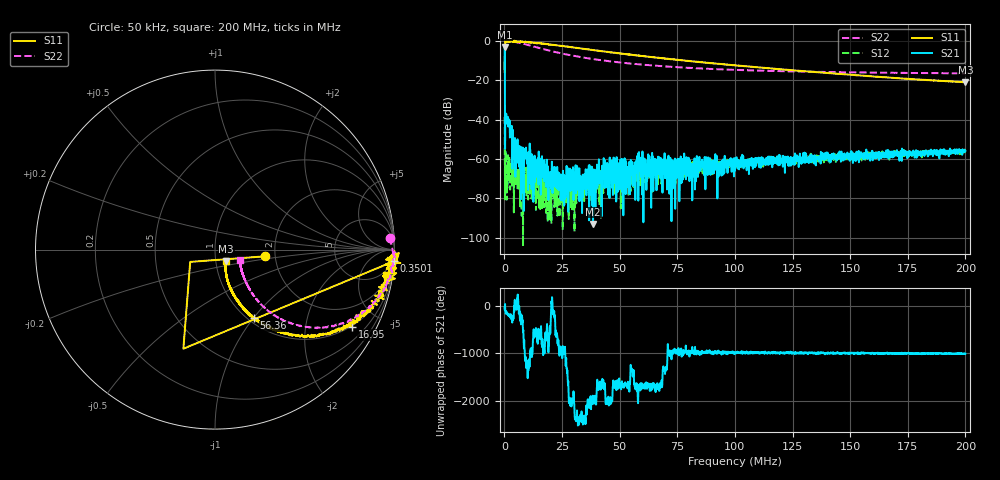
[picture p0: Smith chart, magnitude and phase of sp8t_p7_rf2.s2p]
! 26-Feb-26 1:00:21 PM
! E:\VNA_MEASUREMENTS\SP8T\SP8T_P7_RF2.S2P
! CHANNEL.1
! TR.MEASUREMENT
! CORRECTED.DATA
# GHZ S RI R 50.0
! FREQ.GHZ  S11RE  S11IM  S21RE  S21IM  S12RE  S12IM  S22RE  S22IM
!; PortSelection: Port_12
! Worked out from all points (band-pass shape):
!   2000 points, 50 kHz to 200 MHz, reference 50 ohm
!   highest |S21| = -2.99 dB at 150 kHz (marker M1); lowest = -93.0 dB at 38.46 MHz (marker M2)
!   |S21| within 3 dB of the highest: 123.3 kHz to 155.8 kHz (32.55 kHz wide, 23.3 % of centre)
!   lowest |S11| = -20.9 dB at 200 MHz (marker M3), VSWR 1.20, Z = 56.2 - j7.31 ohm
!   |S11| at or under -10 dB: start of sweep to 204.3 kHz; 78.55965 MHz to 78.64335 MHz (83.7 kHz wide, 0.106 % of centre); 78.96 MHz to end of sweep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
!   |S22| runs from -16.5 to 0.0 dB; largest |S21 - S12| = 0.71
!   S11 on the Smith chart (normalised r, x): 50 kHz: 1.77, -0.14; 350.1 kHz: -1, -31; 16.95 MHz: 0.96, -3.57; 56.36 MHz: 1.06, -1.01; 200 MHz: 1.12, -0.15
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5e-05  0.281 -0.0373  0.18 -0.0744  -0.00459 -0.0109  0.9758 0.0665
0.000150025  -0.1381 -0.0685  0.0527 -0.7067  -0.0001 -0.00133  0.9907 -0.012
0.000350075  0.999 -0.064  -0.00315 -0.0108  0.000364 -0.000466  1.001 -0.0385
0.001150275  0.9837 -0.0418  -0.00565 -0.00592  0.000466 0.000258  0.9915 -0.0699
0.003950975  0.9744 -0.1121  -0.000121 0.00121  -0.000177 -0.000796  0.9276 -0.2366
0.007351826  0.9306 -0.2313  -0.000798 0.00185  0.000677 0.000142  0.7951 -0.3726
0.009552376  0.8979 -0.2839  -0.00103 -0.000429  -0.000117 2.38e-05  0.7006 -0.4118
0.01225305  0.8381 -0.3613  -0.000717 -0.000897  -0.000331 -0.000127  0.6 -0.435
0.01695423  0.7633 -0.4305  -8.63e-05 -0.000312  -0.000125 0.000408  0.4607 -0.4213
0.02535633  0.5746 -0.4759  -0.00044 -0.000253  -0.000217 -0.000109  0.3172 -0.3557
0.02795698  0.5242 -0.4801  -7.91e-05 0.000217  6.4e-06 0.000231  0.2897 -0.3365
0.03345835  0.435 -0.4745  0.000128 -0.000301  -0.000196 0.000183  0.2493 -0.2976
0.03705925  0.3847 -0.4672  -0.000236 -0.000139  -4.58e-05 0.000211  0.2301 -0.2754
0.03845961  0.3686 -0.4605  -1.97e-05 -1.06e-05  -0.00032 0.000242  0.2235 -0.2681
0.04066016  0.3486 -0.4547  -1.91e-05 0.000636  -0.000156 0.000116  0.2148 -0.2558
0.05636408  0.2173 -0.3832  -0.000336 2.82e-05  -3.96e-05 0.00032  0.1778 -0.1938
0.06676668  0.1664 -0.3388  -0.000453 0.000709  -0.000182 0.000702  0.1652 -0.1655
0.07316828  0.1469 -0.3119  -0.000588 0.00032  -0.000317 0.000498  0.1598 -0.1516
0.100075  0.0905 -0.2262  -0.000243 0.000913  -2.83e-05 0.0006  0.1472 -0.1126
0.1333833  0.0649 -0.1519  -0.000114 0.000947  -1.36e-05 0.000821  0.1419 -0.086
0.1666917  0.0593 -0.1021  0.000273 0.001  0.000163 0.00118  0.1404 -0.0699
0.2  0.0625 -0.0646  0.000385 0.00158  0.000323 0.00151  0.1391 -0.0581
